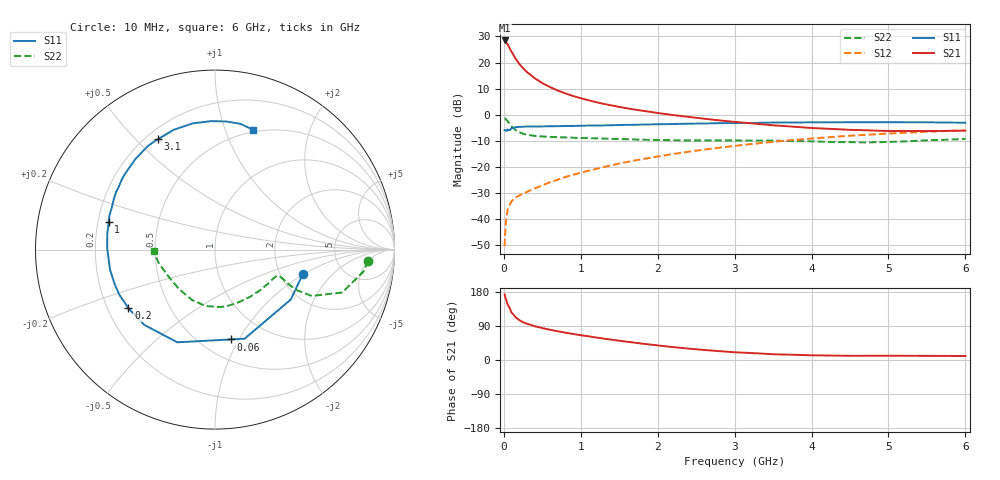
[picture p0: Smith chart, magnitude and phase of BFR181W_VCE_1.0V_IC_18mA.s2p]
! Infineon Technologies  Discrete & RF Semiconductors
! BFR181W
! VCE =  1.0 V,  IC =  18 mA
! Common Emitter S-Parameters:  Jan 2017
# GHz  S  MA  R  50
!  f  S11  S21  S12  S22
! GHz  MAG  ANG  MAG  ANG  MAG  ANG  MAG  ANG
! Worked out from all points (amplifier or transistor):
!   77 points, 10 MHz to 6 GHz, reference 50 ohm
!   highest |S21| = 28.5 dB at 10 MHz (marker M1)
!   |S21| within 3 dB of that: start of sweep to 75.58 MHz
!   unconditionally stable (mu >= 1): start of sweep to 12.72 MHz; 243.1 MHz to end of sweep
!   at 130 MHz: K = 0.67, MSG = 27.5 dB, |S12| = -32.4 dB
!   at 2.2 GHz: K = 1.35, MAG = 3.9 dB, |S12| = -15.1 dB
!   at 6 GHz: K = 1.23, MAG = -3.0 dB, |S12| = -6.0 dB
!   S11 on the Smith chart (normalised r, x): 10 MHz: 2.64, -0.98; 60 MHz: 0.69, -0.93; 200 MHz: 0.29, -0.28; 1 GHz: 0.24, +0.12; 3.1 GHz: 0.25, +0.58; 6 GHz: 0.47, +1.25
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0.01  0.5076 -15.8  26.55 173.2  0.003 78.7  0.8545 -4.2
0.02  0.5056 -33.4  25.77 165.1  0.0066 79.9  0.8375 -8.3
0.05  0.523 -71.6  22.25 146.0  0.015 63.8  0.7483 -18.6
0.06  0.5084 -79.8  20.84 142.8  0.0163 60.9  0.7176 -19.8
0.1  0.5574 -112.1  16.11 124.9  0.0217 52.8  0.5985 -25.6
0.15  0.5756 -133.3  12.06 113.1  0.0258 48.5  0.5092 -26.4
0.2  0.5821 -145.9  9.469 105.3  0.028 47.8  0.4596 -25.4
0.25  0.5893 -154.6  7.77 99.8  0.0307 49.0  0.4322 -24.3
0.3  0.5912 -160.9  6.56 95.6  0.033 50.3  0.4129 -23.3
0.4  0.5954 -169.2  5.009 89.1  0.0383 55.1  0.3927 -22.5
0.5  0.5955 -175.6  4.031 84.2  0.044 58.8  0.3821 -22.4
0.6  0.6003 179.6  3.384 79.8  0.0506 61.7  0.3746 -23.0
0.7  0.602 175.6  2.912 75.9  0.0564 64.6  0.3696 -24.0
0.8  0.6064 171.7  2.563 72.1  0.0638 66.8  0.3657 -25.4
1  0.6131 165.3  2.07 65.5  0.0772 69.2  0.3569 -28.7
1.1  0.6175 162.5  1.889 62.5  0.0843 69.9  0.3546 -30.6
1.5  0.6328 152.1  1.409 50.9  0.115 71.3  0.3406 -39.5
2.1  0.658 137.8  1.03 36.3  0.1667 69.7  0.3248 -56.6
3.1  0.6922 117.2  0.706 19.5  0.2617 62.0  0.3191 -87.5
4.1  0.7134 98.3  0.546 12.2  0.3578 50.9  0.3041 -118.1
5.1  0.7155 83.6  0.486 11.2  0.4414 38.6  0.3031 -154.6
6  0.7011 72.6  0.492 10.5  0.5029 27.9  0.3419 -178.9
